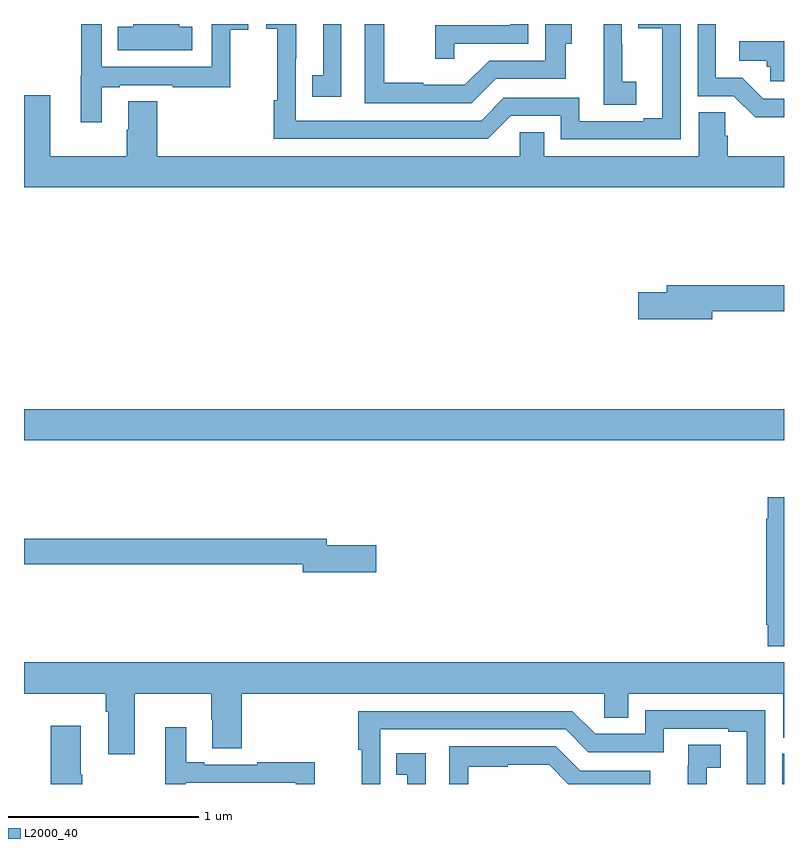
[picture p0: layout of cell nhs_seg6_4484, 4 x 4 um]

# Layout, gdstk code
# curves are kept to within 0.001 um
import gdstk
lib = gdstk.Library(unit=1e-6, precision=1e-09)
def R(c, l, rs):  # rectangles x0, y0, x1, y1
    for r in rs: c.add(gdstk.rectangle(r[:2], r[2:], *l))
def P(c, l, *ps):  # polygons
    for p in ps: c.add(gdstk.Polygon(p, *l))
L2000_40 = (2000, 40)

nhs_seg6_4484 = lib.new_cell('nhs_seg6_4484')
R(nhs_seg6_4484, L2000_40, [(378.99,973.5,379,973.659), (375,975.308,379,975.472)])
P(nhs_seg6_4484, L2000_40, [(378.456,977.5),(378.232,977.5),(378.232,977.478),(378.359,977.478),(378.359,977.004),(378.263,977.004),(378.263,976.989),(377.922,976.989),(377.922,977.112),(377.526,977.112),(377.406,976.992),(376.431,976.992),(376.432,977.5),(376.275,977.5),(376.275,977.475),(376.333,977.475),(376.333,977.099),(376.315,977.099),(376.315,976.896),(377.442,976.896),(377.562,977.016),(377.826,977.016),(377.826,976.893),(378.456,976.893)],
  [(376.671,977.5),(376.574,977.5),(376.574,977.231),(376.516,977.231),(376.516,977.118),(376.671,977.118)],
  [(379,977.106),(378.891,977.106),(378.78,977.217),(378.642,977.217),(378.642,977.5),(378.546,977.5),(378.546,977.121),(378.735,977.121),(378.848,977.009),(379,977.009)],
  [(375.886,977.485),(375.817,977.485),(375.817,977.5),(375.575,977.5),(375.575,977.485),(375.493,977.485),(375.493,977.363),(375.886,977.363)],
  [(378.223,977.196),(378.149,977.196),(378.149,977.393),(378.147,977.393),(378.147,977.5),(378.05,977.5),(378.05,977.185),(378.052,977.185),(378.052,977.074),(378.223,977.074)],
  [(377.265,977.397),(377.655,977.397),(377.655,977.5),(377.559,977.5),(377.559,977.493),(377.164,977.493),(377.164,977.316),(377.265,977.316)],
  [(375.409,977.166),(375.505,977.166),(375.505,977.178),(375.784,977.178),(375.784,977.166),(376.086,977.166),(376.086,977.47),(376.18,977.47),(376.18,977.5),(375.987,977.5),(375.987,977.274),(375.408,977.274),(375.408,977.5),(375.3,977.5),(375.3,977.227),(375.299,977.227),(375.299,976.983),(375.409,976.983)],
  [(377.484,977.211),(377.851,977.211),(377.851,977.395),(377.884,977.395),(377.884,977.498),(377.744,977.498),(377.744,977.307),(377.448,977.307),(377.32,977.179),(377.102,977.179),(377.102,977.191),(376.895,977.191),(376.895,977.5),(376.794,977.5),(376.794,977.082),(377.355,977.082)],
  [(379,977.41),(378.765,977.41),(378.765,977.306),(378.908,977.306),(378.908,977.274),(378.927,977.274),(378.927,977.199),(379,977.199)],
  [(379,976.804),(378.704,976.804),(378.704,976.913),(378.69,976.913),(378.69,977.036),(378.551,977.036),(378.551,976.804),(377.737,976.804),(377.737,976.931),(377.61,976.931),(377.61,976.804),(375.701,976.804),(375.701,977.093),(375.548,977.093),(375.548,976.943),(375.541,976.943),(375.541,976.804),(375.139,976.804),(375.139,977.125),(375,977.125),(375,976.64),(379,976.64)],
  [(378.622,975.988),(379,975.988),(379,976.124),(378.383,976.124),(378.383,976.088),(378.234,976.088),(378.234,975.946),(378.622,975.946)],
  [(379,975.01),(378.915,975.01),(378.915,974.897),(378.907,974.897),(378.907,974.338),(378.914,974.338),(378.914,974.226),(379,974.226)],
  [(376.855,974.756),(376.594,974.756),(376.594,974.792),(375,974.792),(375,974.656),(376.466,974.656),(376.466,974.614),(376.855,974.614)],
  [(375.583,973.976),(375.985,973.976),(375.985,973.838),(375.992,973.838),(375.992,973.687),(376.145,973.687),(376.145,973.976),(378.054,973.976),(378.054,973.849),(378.181,973.849),(378.181,973.976),(378.995,973.976),(378.995,973.744),(379,973.744),(379,974.14),(375,974.14),(375,973.976),(375.431,973.976),(375.431,973.88),(375.443,973.88),(375.443,973.656),(375.583,973.656)],
  [(376.875,973.788),(377.85,973.788),(377.97,973.668),(378.366,973.668),(378.366,973.791),(378.707,973.791),(378.707,973.776),(378.803,973.776),(378.803,973.5),(378.9,973.5),(378.9,973.887),(378.27,973.887),(378.27,973.764),(378.006,973.764),(377.886,973.884),(376.759,973.884),(376.759,973.681),(376.777,973.681),(376.777,973.5),(376.875,973.5)],
  [(375.306,973.549),(375.298,973.549),(375.298,973.807),(375.14,973.807),(375.14,973.5),(375.306,973.5)],
  [(375.852,973.506),(376.431,973.506),(376.431,973.5),(376.53,973.5),(376.53,973.615),(376.228,973.615),(376.228,973.602),(375.949,973.602),(375.949,973.615),(375.853,973.615),(375.853,973.798),(375.743,973.798),(375.743,973.553),(375.744,973.553),(375.744,973.5),(375.852,973.5)],
  [(378.593,973.585),(378.667,973.585),(378.667,973.706),(378.496,973.706),(378.496,973.595),(378.494,973.595),(378.494,973.5),(378.593,973.5)],
  [(377.339,973.59),(377.546,973.59),(377.546,973.601),(377.764,973.601),(377.865,973.5),(378.295,973.5),(378.295,973.569),(377.928,973.569),(377.799,973.698),(377.238,973.698),(377.238,973.5),(377.339,973.5)],
  [(377.115,973.663),(376.96,973.663),(376.96,973.55),(377.018,973.55),(377.018,973.5),(377.115,973.5)])

lib.write_gds('nhs_seg6_4484.gds')
